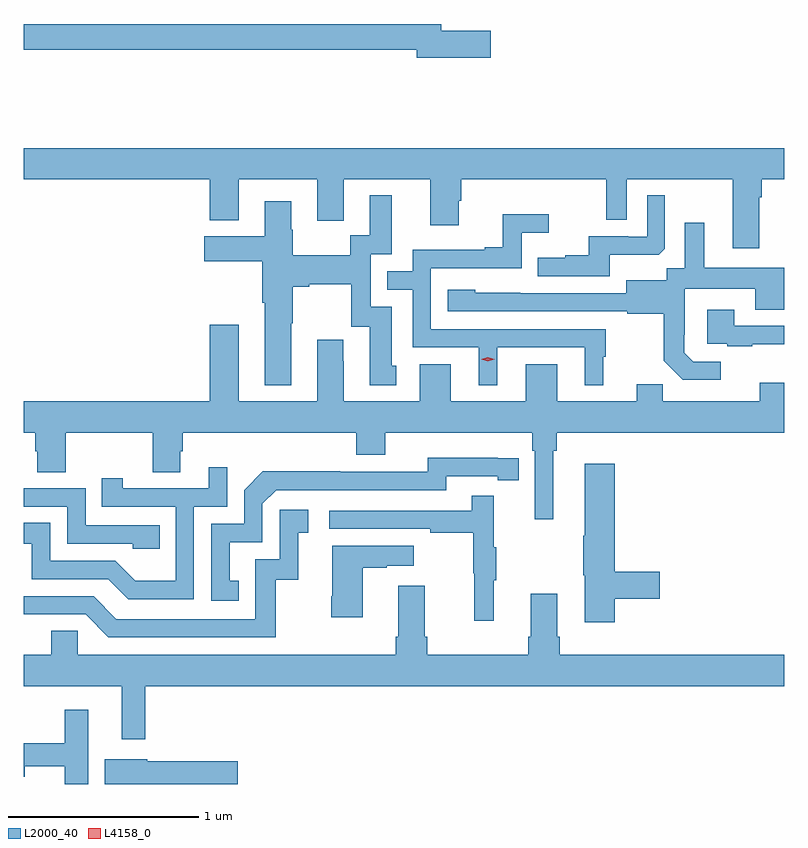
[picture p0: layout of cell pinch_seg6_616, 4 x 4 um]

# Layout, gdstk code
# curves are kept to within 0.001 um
import gdstk
lib = gdstk.Library(unit=1e-6, precision=1e-09)
def P(c, l, *ps):  # polygons
    for p in ps: c.add(gdstk.Polygon(p, *l))
L2000_40 = (2000, 40)
L4158_0 = (4158, 0)

pinch_seg6_616 = lib.new_cell('pinch_seg6_616')
P(pinch_seg6_616, L2000_40, [(385.069,972.092),(384.808,972.092),(384.808,972.128),(382.612,972.128),(382.612,971.992),(384.68,971.992),(384.68,971.95),(385.069,971.95)],
  [(386.479,971.216),(386.492,971.216),(386.492,971.312),(386.612,971.312),(386.612,971.476),(382.612,971.476),(382.612,971.312),(383.591,971.312),(383.591,971.096),(383.743,971.096),(383.743,971.312),(384.155,971.312),(384.155,971.094),(384.295,971.094),(384.295,971.312),(384.749,971.312),(384.749,971.07),(384.901,971.07),(384.901,971.199),(384.914,971.199),(384.914,971.312),(385.674,971.312),(385.674,971.098),(385.782,971.098),(385.782,971.312),(386.339,971.312),(386.339,970.95),(386.479,970.95)],
  [(385.693,970.916),(385.951,970.916),(385.983,970.947),(385.983,971.227),(385.89,971.227),(385.89,971.01),(385.79,971.01),(385.79,971.013),(385.583,971.013),(385.583,970.912),(385.459,970.912),(385.459,970.9),(385.315,970.9),(385.315,970.803),(385.693,970.803)],
  [(384.019,970.555),(384.027,970.555),(384.027,970.748),(384.115,970.748),(384.115,970.76),(384.335,970.76),(384.335,970.536),(384.431,970.536),(384.431,970.23),(384.571,970.23),(384.571,970.332),(384.547,970.332),(384.547,970.641),(384.438,970.641),(384.438,970.917),(384.547,970.917),(384.547,971.227),(384.431,971.227),(384.431,971.018),(384.33,971.018),(384.33,970.912),(384.027,970.912),(384.027,971.046),(384.019,971.046),(384.019,971.197),(383.879,971.197),(383.879,971.011),(383.562,971.011),(383.562,970.882),(383.867,970.882),(383.867,970.664),(383.879,970.664),(383.879,970.229),(384.019,970.229)],
  [(385.102,970.428),(385.562,970.428),(385.562,970.229),(385.66,970.229),(385.66,970.38),(385.672,970.38),(385.672,970.524),(384.753,970.524),(384.753,970.845),(385.23,970.845),(385.23,971.03),(385.372,971.03),(385.372,971.129),(385.132,971.129),(385.132,970.954),(385.037,970.954),(385.037,970.941),(384.657,970.941),(384.657,970.827),(384.523,970.827),(384.523,970.731),(384.657,970.731),(384.657,970.428),(385.004,970.428),(385.004,970.229),(385.102,970.229)],
  [(386.278,970.353),(386.133,970.353),(386.086,970.4),(386.086,970.495),(386.088,970.495),(386.088,970.736),(386.459,970.736),(386.459,970.627),(386.611,970.627),(386.611,970.846),(386.191,970.846),(386.191,971.083),(386.087,971.083),(386.087,970.844),(385.992,970.844),(385.992,970.78),(385.781,970.78),(385.781,970.713),(384.987,970.714),(384.987,970.732),(384.843,970.732),(384.843,970.617),(385.785,970.617),(385.785,970.605),(385.977,970.605),(385.977,970.359),(386.077,970.259),(386.278,970.259)],
  [(386.443,970.445),(386.612,970.445),(386.612,970.542),(386.347,970.542),(386.347,970.627),(386.207,970.627),(386.207,970.446),(386.311,970.446),(386.311,970.434),(386.443,970.434)],
  [(385.286,969.884),(385.299,969.884),(385.299,969.525),(385.396,969.525),(385.396,969.884),(385.415,969.884),(385.415,969.98),(386.612,969.98),(386.612,970.243),(386.483,970.243),(386.483,970.144),(385.973,970.144),(385.973,970.235),(385.835,970.235),(385.835,970.144),(385.417,970.144),(385.417,970.339),(385.253,970.339),(385.253,970.144),(384.859,970.144),(384.859,970.339),(384.695,970.339),(384.695,970.144),(384.295,970.144),(384.295,970.355),(384.292,970.355),(384.292,970.468),(384.155,970.468),(384.155,970.144),(383.743,970.144),(383.743,970.546),(383.591,970.546),(383.591,970.144),(382.612,970.144),(382.612,969.98),(382.673,969.98),(382.673,969.882),(382.685,969.882),(382.685,969.772),(382.833,969.772),(382.833,969.98),(383.29,969.98),(383.29,969.772),(383.437,969.772),(383.437,969.882),(383.45,969.882),(383.45,969.98),(384.362,969.98),(384.362,969.863),(384.514,969.863),(384.514,969.98),(385.286,969.98)],
  [(383.744,969.201),(383.695,969.201),(383.695,969.405),(383.868,969.405),(383.868,969.606),(383.94,969.678),(384.834,969.678),(384.834,969.75),(385.106,969.75),(385.106,969.73),(385.214,969.73),(385.214,969.846),(384.738,969.847),(384.738,969.774),(384.278,969.774),(384.278,969.776),(383.87,969.776),(383.772,969.678),(383.772,969.501),(383.598,969.501),(383.598,969.096),(383.744,969.096)],
  [(385.721,969.106),(385.957,969.106),(385.957,969.248),(385.721,969.248),(385.721,969.817),(385.562,969.817),(385.562,969.437),(385.555,969.437),(385.555,969.231),(385.562,969.231),(385.562,968.982),(385.721,968.982)],
  [(383.508,969.591),(383.682,969.591),(383.682,969.799),(383.585,969.799),(383.585,969.687),(383.134,969.687),(383.134,969.739),(383.023,969.739),(383.023,969.591),(383.412,969.591),(383.412,969.202),(383.198,969.202),(383.094,969.306),(382.752,969.306),(382.752,969.505),(382.612,969.505),(382.612,969.395),(382.654,969.395),(382.654,969.21),(383.057,969.21),(383.162,969.105),(383.508,969.105)],
  [(383.327,969.492),(382.938,969.492),(382.938,969.687),(382.612,969.687),(382.612,969.591),(382.842,969.591),(382.842,969.396),(383.187,969.396),(383.187,969.369),(383.327,969.369)],
  [(385.085,969.203),(385.096,969.203),(385.096,969.377),(385.085,969.377),(385.085,969.649),(384.967,969.649),(384.967,969.57),(384.219,969.57),(384.219,969.474),(384.751,969.474),(384.751,969.454),(384.975,969.454),(384.975,969.24),(384.982,969.24),(384.982,968.991),(385.085,968.991)],
  [(383.938,969.207),(384.056,969.207),(384.056,969.453),(384.109,969.453),(384.109,969.574),(383.958,969.574),(383.958,969.315),(383.829,969.315),(383.829,969),(383.1,969),(382.98,969.12),(382.612,969.12),(382.612,969.024),(382.938,969.024),(383.058,968.904),(383.938,968.904)],
  [(384.394,969.271),(384.521,969.271),(384.521,969.281),(384.664,969.281),(384.664,969.385),(384.236,969.385),(384.236,969.121),(384.229,969.121),(384.229,969.009),(384.394,969.009)],
  [(383.251,968.648),(386.612,968.648),(386.612,968.812),(385.43,968.812),(385.43,968.908),(385.417,968.908),(385.417,969.133),(385.277,969.133),(385.277,968.908),(385.265,968.908),(385.265,968.812),(384.734,968.812),(384.734,968.908),(384.721,968.908),(384.721,969.175),(384.581,969.175),(384.581,968.908),(384.569,968.908),(384.569,968.812),(382.896,968.812),(382.896,968.939),(382.757,968.939),(382.757,968.812),(382.612,968.812),(382.612,968.648),(383.129,968.648),(383.129,968.367),(383.251,968.367)],
  [(382.951,968.524),(382.83,968.524),(382.83,968.347),(382.612,968.347),(382.612,968.171),(382.618,968.171),(382.618,968.226),(382.83,968.226),(382.83,968.133),(382.951,968.133)],
  [(383.737,968.253),(383.262,968.253),(383.262,968.263),(383.039,968.263),(383.039,968.133),(383.737,968.133)])
P(pinch_seg6_616, L4158_0, [(385.053,970.356),(385.017,970.365),(385.017,970.365),(385.017,970.366),(385.053,970.376),(385.089,970.367),(385.089,970.367),(385.089,970.366)])

lib.write_gds('pinch_seg6_616.gds')
